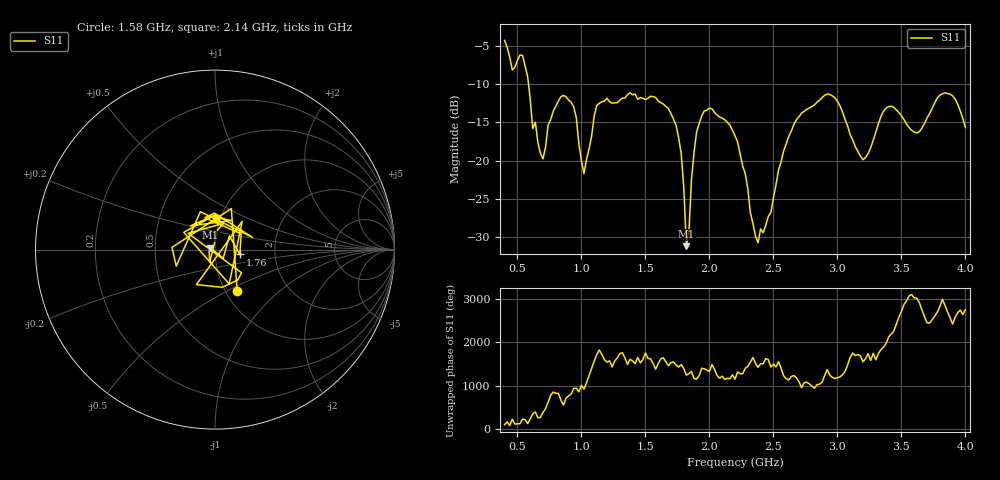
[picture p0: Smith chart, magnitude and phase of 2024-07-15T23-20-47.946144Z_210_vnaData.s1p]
!Created with skrf (http://scikit-rf.org).
# Hz S RI R 50.0
!freq ReS11 ImS11
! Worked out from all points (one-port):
!   181 points, 400 MHz to 4 GHz, reference 50 ohm
!   lowest |S11| = -31.2 dB at 1.82 GHz (marker M1), VSWR 1.06, Z = 47.5 + j0.936 ohm
!   |S11| at or under -10 dB: 586.9 MHz to end of sweep
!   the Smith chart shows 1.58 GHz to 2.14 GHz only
!   S11 on the Smith chart (normalised r, x): 1.58 GHz: 1.14, -0.56; 1.76 GHz: 1.32, -0.07; 2.14 GHz: 0.95, +0.35
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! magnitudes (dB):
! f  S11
! 400 MHz  -4.3
! 460 MHz  -8.1
! 540 MHz  -6.2
! 620 MHz  -15.8
! 700 MHz  -19.8
! 740 MHz  -15.3
! 860 MHz  -11.5
! 940 MHz  -13.0
! 1.02 GHz  -21.7
! 1.12 GHz  -12.8
! 1.3 GHz  -12.1
! 1.58 GHz  -11.7
! 1.76 GHz  -17.0
! 1.8 GHz  -23.5
! 1.82 GHz  -31.2
! 1.88 GHz  -18.9
! 1.92 GHz  -15.1
! 2.14 GHz  -15.0
! 2.2 GHz  -16.7
! 2.38 GHz  -30.8
! 2.66 GHz  -15.3
! 2.94 GHz  -11.3
! 3.1 GHz  -16.6
! 3.2 GHz  -19.9
! 3.38 GHz  -13.1
! 3.56 GHz  -15.6
! 3.84 GHz  -11.1
! 4 GHz  -15.7
